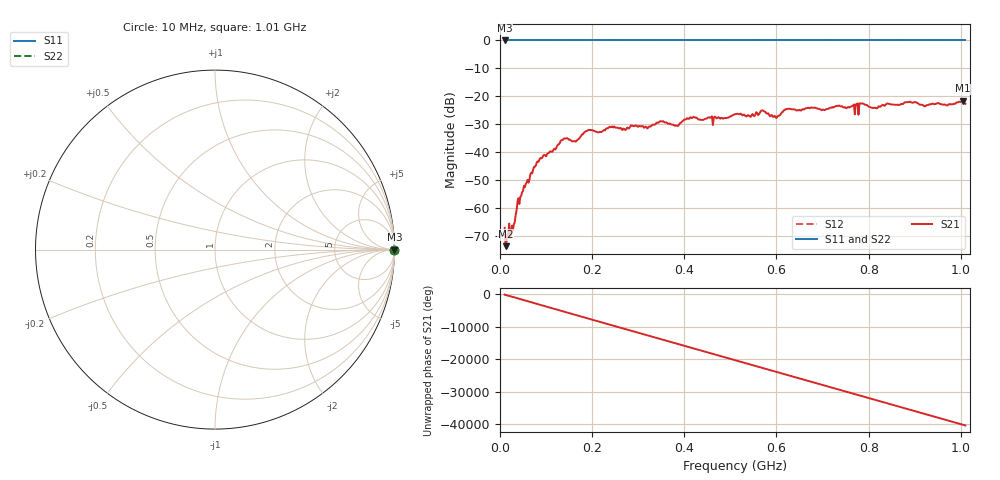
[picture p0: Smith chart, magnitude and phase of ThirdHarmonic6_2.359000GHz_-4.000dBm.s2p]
! 8/17/2025 3:36:30 AM
! C:\ANRITSUVNA\TEMP\TEMP.S2P
! CHANNEL.1
! TR.MEASUREMENT
! RAW.DATA
! RF.CORRECTION.OFF
! AVERAGING.OFF
! IF.BANDWIDTH: 5KHZ
! SWEEPTYPE:  FREQ.SWEEP(Linear)
! Reference Plane Port Info
! PORT:  PORT1  PORT2
! DISTANCE:  0  m  0  m
! TIME:  0  s  0  s
! PHASE.OFFSET:  0  deg.  0  deg.
! LOSS:  0  dB  0  dB
! REF.LOSS:  0  dB  0  dB
! REF.FREQ:  0  Hz  0  Hz
! Power Info
! POWER:  -20  dBm  -20  dBm
! EFF.POWER:  -20  dBm  -20  dBm
! SOURCE.ATTEN:  0  dB  0  dB
! TEST.ATTEN:  0  dB  0  dB
# GHZ S RI R 50.0
! FREQ.GHZ  S11RE  S11IM  S21RE  S21IM  S12RE  S12IM  S22RE  S22IM
!; PortSelection: Port_12
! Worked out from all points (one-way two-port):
!   501 points, 10 MHz to 1.01 GHz, reference 50 ohm
!   highest |S21| = -21.59 dB at 1.004 GHz (marker M1); lowest = -73.7 dB at 12 MHz (marker M2)
!   lowest |S11| = 0.0 dB at 10 MHz (marker M3)
!   |S11| at or under -10 dB: nowhere
!   |S22| runs from 0.0 to 0.0 dB; largest |S21 - S12| = 1.1
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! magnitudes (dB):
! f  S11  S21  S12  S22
! 10 MHz  0.0  -67.1  0.0  0.0
! 12 MHz  0.0  -73.7  0.0  0.0
! 26 MHz  0.0  -66.3  0.0  0.0
! 42 MHz  0.0  -58.6  0.0  0.0
! 84 MHz  0.0  -43.4  0.0  0.0
! 136 MHz  0.0  -35.6  0.0  0.0
! 162 MHz  0.0  -36.1  0.0  0.0
! 178 MHz  0.0  -33.7  0.0  0.0
! 194 MHz  0.0  -32.1  0.0  0.0
! 316 MHz  0.0  -30.9  0.0  0.0
! 344 MHz  0.0  -29.5  0.0  0.0
! 384 MHz  0.0  -30.5  0.0  0.0
! 416 MHz  0.0  -27.8  0.0  0.0
! 510 MHz  0.0  -26.4  0.0  0.0
! 570 MHz  0.0  -25.1  0.0  0.0
! 596 MHz  0.0  -27.0  0.0  0.0
! 622 MHz  0.0  -24.5  0.0  0.0
! 678 MHz  0.0  -24.1  0.0  0.0
! 814 MHz  0.0  -24.1  0.0  0.0
! 844 MHz  0.0  -22.7  0.0  0.0
! 1.004 GHz  0.0  -21.6  0.0  0.0
! 1.01 GHz  0.0  -22.7  0.0  0.0
